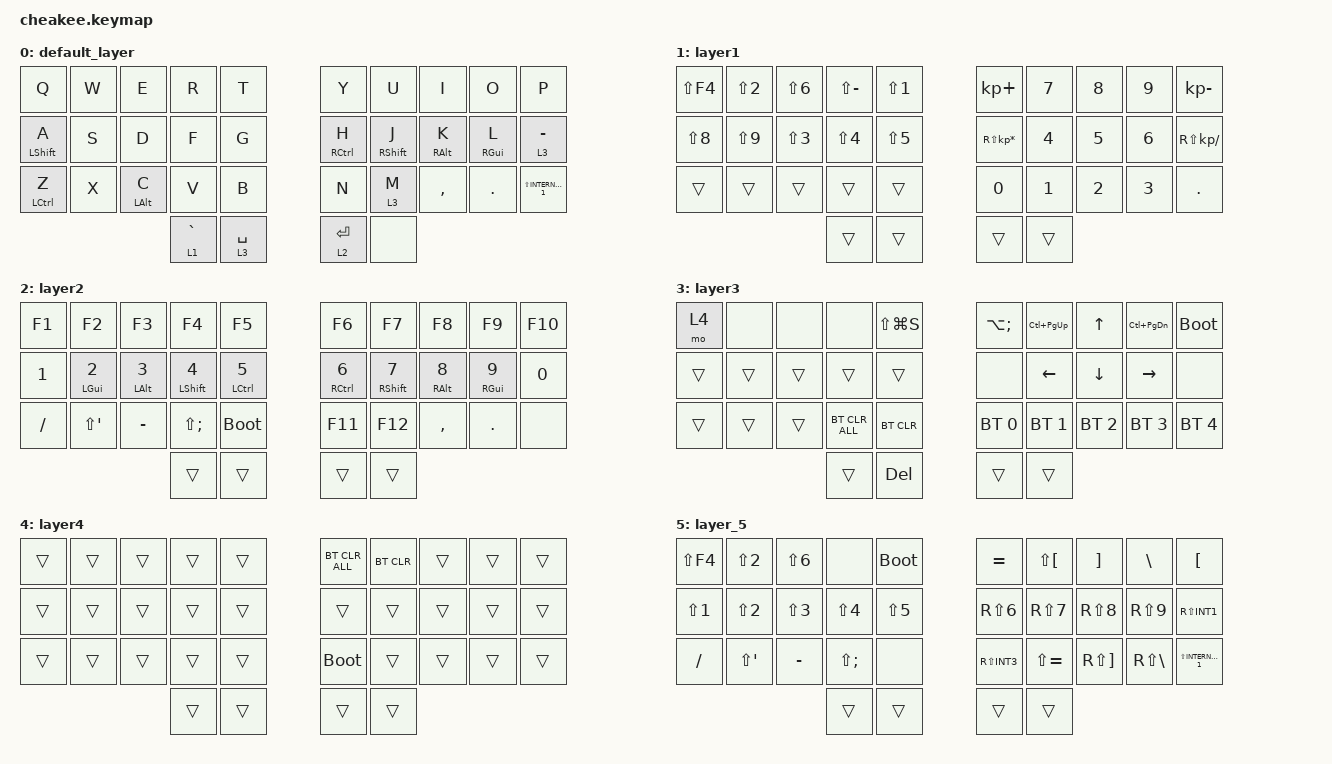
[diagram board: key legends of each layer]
#include <input/processors.dtsi>
#include <dt-bindings/zmk/input_transform.h>
#include <behaviors.dtsi>
#include <dt-bindings/zmk/bt.h>
#include <dt-bindings/zmk/keys.h>
#include <dt-bindings/zmk/pointing.h>

/ {
    combos {
        compatible = "zmk,combos";

        Eisu {
            bindings = <&kp LANGUAGE_2>;
            key-positions = <21 22>;
            layers = <0>;
            timeout-ms = <30>;
        };

        Kana {
            bindings = <&kp LANGUAGE_1>;
            key-positions = <27 28>;
            layers = <0>;
            timeout-ms = <30>;
        };

        LeftClick {
            bindings = <&mkp LCLK>;
            key-positions = <16 7>;
            layers = <0>;
            require-prior-idle-ms = <150>;
            timeout-ms = <30>;
        };

        RightClick {
            bindings = <&mkp RCLK>;
            key-positions = <7 8>;
            layers = <0>;
            require-prior-idle-ms = <150>;
            timeout-ms = <30>;
        };

        MiddleClick {
            bindings = <&mkp MCLK>;
            key-positions = <18 16>;
            layers = <0>;
            require-prior-idle-ms = <150>;
            timeout-ms = <30>;
        };

        Tab {
            bindings = <&kp TAB>;
            key-positions = <11 10>;
            layers = <0>;
            require-prior-idle-ms = <150>;
        };

        Capsword {
            bindings = <&caps_word>;
            key-positions = <13 16>;
            layers = <0>;
            require-prior-idle-ms = <150>;
        };

        Escape {
            bindings = <&kp ESC>;
            key-positions = <1 0>;
            layers = <0>;
            require-prior-idle-ms = <150>;
        };

        DoubleQuote {
            bindings = <&kp LS(NUMBER_2)>;
            key-positions = <17 18>;
            layers = <0>;
            require-prior-idle-ms = <150>;
        };

        Semicolon {
            bindings = <&kp SEMICOLON>;
            key-positions = <6 7>;
            layers = <0>;
            require-prior-idle-ms = <150>;
        };

        Colon {
            bindings = <&kp SINGLE_QUOTE>;
            key-positions = <26 27>;
            layers = <0>;
            require-prior-idle-ms = <150>;
        };

        Scroll {
            bindings = <&mo 3>;
            key-positions = <17 26>;
            layers = <0>;
        };

        Backspace {
            bindings = <&kp BACKSPACE>;
            key-positions = <13 12>;
            layers = <0>;
        };

        del {
            bindings = <&kp DELETE>;
            key-positions = <8 9>;
        };

        Backspace2 {
            bindings = <&kp BACKSPACE>;
            key-positions = <32 25>;
            layers = <0>;
        };
    };

    behaviors {
        hmr_l: hmr_l {
            compatible = "zmk,behavior-hold-tap";
            label = "HMR_L";
            bindings = <&kp>, <&kp>;

            #binding-cells = <2>;
            tapping-term-ms = <200>;
            flavor = "tap-preferred";
            hold-trigger-key-positions = <5 15 25 32 33 26 28 27 29 19 18 17 16 6 7 8 9>;
            hold-trigger-on-release;
            require-prior-idle-ms = <150>;
        };

        hmr_r: hmr_r {
            compatible = "zmk,behavior-hold-tap";
            label = "HMR_R";
            bindings = <&kp>, <&kp>;

            #binding-cells = <2>;
            tapping-term-ms = <200>;
            flavor = "tap-preferred";
            hold-trigger-key-positions = <31 30 20 21 22 23 24 14 13 12 11 10 0 1 2 3 4>;
            hold-trigger-on-release;
            require-prior-idle-ms = <150>;
        };

        lt_thumb: lt_thumb {
            compatible = "zmk,behavior-hold-tap";
            label = "LT_THUMB";
            bindings = <&mo>, <&kp>;

            #binding-cells = <2>;
            tapping-term-ms = <250>;
            flavor = "tap-preferred";
        };

        lt_arrow: lt_arrow {
            compatible = "zmk,behavior-hold-tap";
            label = "LT_ARROW";
            bindings = <&mo>, <&kp>;

            #binding-cells = <2>;
            flavor = "tap-preferred";
            tapping-term-ms = <200>;
            require-prior-idle-ms = <150>;
        };

        lt_scroll: lt_scroll {
            compatible = "zmk,behavior-hold-tap";
            label = "LT_SCROLL";
            #binding-cells = <2>;
            tapping-term-ms = <300>;
            flavor = "tap-preferred";
            bindings = <&mo>, <&kp>;

            hold-while-undecided;
            require-prior-idle-ms = <150>;
        };

        hmr_l_2: hmr_l_2 {
            compatible = "zmk,behavior-hold-tap";
            label = "HMR_L_2";
            bindings = <&kp>, <&kp>;

            #binding-cells = <2>;
            tapping-term-ms = <200>;
            flavor = "tap-preferred";
            hold-trigger-key-positions = <5 15 25 32 33 26 28 27 29 19 18 17 16 6 7 8 9>;
            hold-trigger-on-release;
            require-prior-idle-ms = <150>;
            hold-while-undecided;
        };

        hmr_r_2: hmr_r_2 {
            compatible = "zmk,behavior-hold-tap";
            label = "HMR_R_2";
            bindings = <&kp>, <&kp>;

            #binding-cells = <2>;
            tapping-term-ms = <200>;
            flavor = "tap-preferred";
            hold-trigger-key-positions = <31 30 20 21 22 23 24 14 13 12 11 10 0 1 2 3 4>;
            hold-trigger-on-release;
            require-prior-idle-ms = <150>;
            hold-while-undecided;
        };

        hmr_num_l: hmr_num_l {
            compatible = "zmk,behavior-hold-tap";
            label = "HMR_NUM_L";
            bindings = <&kp>, <&kp>;

            #binding-cells = <2>;
            tapping-term-ms = <300>;
            flavor = "tap-preferred";
            hold-trigger-key-positions = <5 15 25 32 33 26 28 27 29 19 18 17 16 6 7 8 9>;
            hold-trigger-on-release;
            require-prior-idle-ms = <150>;
            retro-tap;
        };

        hmr_num_r: hmr_num_r {
            compatible = "zmk,behavior-hold-tap";
            label = "HMR_NUM_R";
            bindings = <&kp>, <&kp>;

            #binding-cells = <2>;
            tapping-term-ms = <300>;
            flavor = "tap-preferred";
            hold-trigger-key-positions = <31 30 20 21 22 23 24 14 13 12 11 10 0 1 2 3 4>;
            hold-trigger-on-release;
            require-prior-idle-ms = <150>;
            retro-tap;
        };
    };

    keymap {
        compatible = "zmk,keymap";

        default_layer {
            bindings = <
&kp Q              &kp W        &kp E              &kp R  &kp T  &kp Y             &kp U                   &kp I               &kp O               &kp P
&mt LEFT_SHIFT A   &kp S        &kp D              &kp F  &kp G  &hmr_r_2 RCTRL H  &hmr_r_2 RIGHT_SHIFT J  &hmr_r RIGHT_ALT K  &hmr_r RIGHT_GUI L  &lt_arrow 3 MINUS
&mt LCTRL Z        &kp X        &mt LEFT_ALT C     &kp V  &kp B  &kp N             &lt_scroll 3 M          &kp COMMA           &kp DOT             &kp LS(INTERNATIONAL_1)
&lt_thumb 1 GRAVE  &lt 3 SPACE  &lt_thumb 2 ENTER  &none
            >;
        };

        layer1 {
            bindings = <
&kp LS(F4)        &kp LS(NUMBER_2)  &kp LS(NUMBER_6)  &kp LS(MINUS)     &kp LS(NUMBER_1)  &kp KP_PLUS          &kp N7  &kp N8  &kp N9  &kp KP_MINUS
&kp LS(NUMBER_8)  &kp LS(NUMBER_9)  &kp LS(NUMBER_3)  &kp LS(NUMBER_4)  &kp LS(NUMBER_5)  &kp RS(KP_MULTIPLY)  &kp N4  &kp N5  &kp N6  &kp RS(KP_SLASH)
&trans            &trans            &trans            &trans            &trans            &kp N0               &kp N1  &kp N2  &kp N3  &kp DOT
&trans            &trans            &trans            &trans
            >;
        };

        layer2 {
            bindings = <
&kp F1        &kp F2                        &kp F3                        &kp F4                          &kp F5                     &kp F6                     &kp F7                           &kp F8                         &kp F9                         &kp F10
&kp NUMBER_1  &hmr_num_l LEFT_GUI NUMBER_2  &hmr_num_l LEFT_ALT NUMBER_3  &hmr_num_l LEFT_SHIFT NUMBER_4  &hmr_num_l LCTRL NUMBER_5  &hmr_num_r RCTRL NUMBER_6  &hmr_num_r RIGHT_SHIFT NUMBER_7  &hmr_num_r RIGHT_ALT NUMBER_8  &hmr_num_r RIGHT_GUI NUMBER_9  &kp NUMBER_0
&kp SLASH     &kp LS(SINGLE_QUOTE)          &kp MINUS                     &kp LS(SEMICOLON)               &bootloader                &kp F11                    &kp F12                          &kp COMMA                      &kp DOT                        &none
&trans        &trans                        &trans                        &trans
            >;
        };

        layer3 {
            bindings = <
&mo 4   &none       &none   &none           &kp LS(LG(S))  &kp LA(SEMI)  &kp LC(PAGE_UP)  &kp UP        &kp LC(PAGE_DOWN)  &bootloader
&trans  &trans      &trans  &trans          &trans         &none         &kp LEFT         &kp DOWN      &kp RIGHT          &none
&trans  &trans      &trans  &bt BT_CLR_ALL  &bt BT_CLR     &bt BT_SEL 0  &bt BT_SEL 1     &bt BT_SEL 2  &bt BT_SEL 3       &bt BT_SEL 4
&trans  &kp DELETE  &trans  &trans
            >;
        };

        layer4 {
            bindings = <
&trans  &trans  &trans  &trans  &trans  &bt BT_CLR_ALL  &bt BT_CLR  &trans  &trans  &trans
&trans  &trans  &trans  &trans  &trans  &trans          &trans      &trans  &trans  &trans
&trans  &trans  &trans  &trans  &trans  &bootloader     &trans      &trans  &trans  &trans
&trans  &trans  &trans  &trans
            >;
        };

        layer_5 {
            bindings = <
&kp LS(F4)        &kp LS(NUMBER_2)      &kp LS(NUMBER_6)  &none              &bootloader       &kp EQUAL         &kp LS(LEFT_BRACKET)  &kp RIGHT_BRACKET      &kp BACKSLASH      &kp LEFT_BRACKET
&kp LS(NUMBER_1)  &kp LS(NUMBER_2)      &kp LS(NUMBER_3)  &kp LS(NUMBER_4)   &kp LS(NUMBER_5)  &kp RS(NUMBER_6)  &kp RS(NUMBER_7)      &kp RS(NUMBER_8)       &kp RS(NUMBER_9)   &kp RS(INT1)
&kp SLASH         &kp LS(SINGLE_QUOTE)  &kp MINUS         &kp LS(SEMICOLON)  &none             &kp RS(INT3)      &kp LS(EQUAL)         &kp RS(RIGHT_BRACKET)  &kp RS(BACKSLASH)  &kp LS(INTERNATIONAL_1)
&trans            &trans                &trans            &trans
            >;
        };
    };
};

&trackball_listener {
    scroller {
        layers = <3>;
        input-processors = <&zip_xy_to_scroll_mapper &zip_scroll_scaler 1 16>;
    };
};

&trackball_listener_central {
    scroller {
        layers = <3>;
        input-processors = <&zip_xy_to_scroll_mapper &zip_scroll_scaler 1 16>;
    };
};
